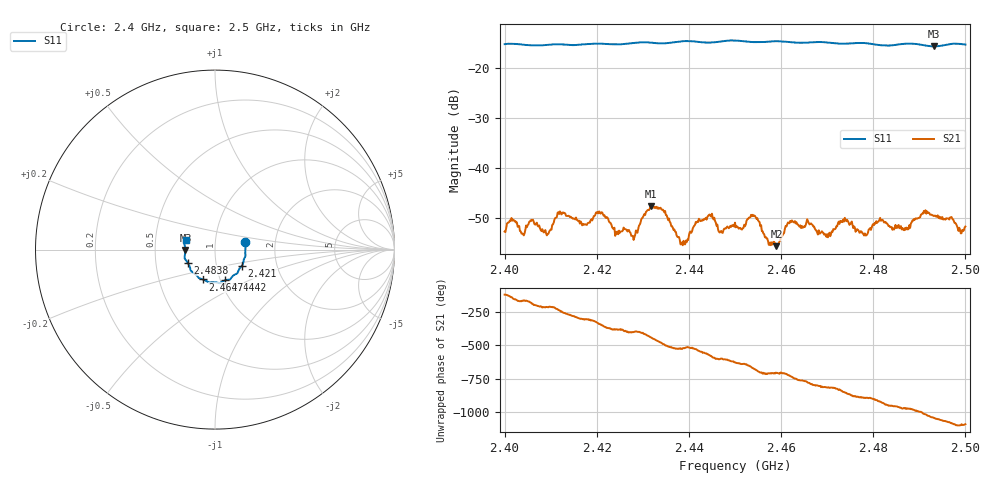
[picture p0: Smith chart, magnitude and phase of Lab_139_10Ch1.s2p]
# Hz S RI R 50
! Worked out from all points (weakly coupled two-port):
!   601 points, 2.4 GHz to 2.5 GHz, reference 50 ohm
!   highest |S21| = -47.75 dB at 2.4317 GHz (marker M1); lowest = -55.7 dB at 2.459 GHz (marker M2)
!   lowest |S11| = -15.7 dB at 2.4932 GHz (marker M3), VSWR 1.39, Z = 35.8 - j0.109 ohm
!   |S11| at or under -10 dB: start of sweep to end of sweep
!   S12 and S22 are empty: the file has one direction only
!   S11 on the Smith chart (normalised r, x): 2.4 GHz: 1.40, +0.12; 2.421 GHz: 1.33, -0.24; 2.4442 GHz: 1.05, -0.37; 2.4647 GHz: 0.83, -0.29; 2.4838 GHz: 0.73, -0.11; 2.5 GHz: 0.71, +0.08
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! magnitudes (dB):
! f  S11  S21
! 2.4 GHz  -15.2  -52.8
! 2.4058 GHz  -15.4  -50.6
! 2.4095 GHz  -15.3  -53.2
! 2.412 GHz  -15.2  -48.7
! 2.4167 GHz  -15.3  -51.1
! 2.421 GHz  -15.1  -48.9
! 2.4278 GHz  -15.0  -53.6
! 2.4317 GHz  -14.9  -47.8
! 2.4333 GHz  -15.0  -48.0
! 2.4387 GHz  -14.6  -55.5
! 2.4442 GHz  -14.9  -49.7
! 2.4468 GHz  -14.7  -52.8
! 2.45 GHz  -14.5  -51.0
! 2.454 GHz  -14.8  -49.7
! 2.459 GHz  -14.6  -55.7
! 2.4618 GHz  -14.8  -51.1
! 2.4647 GHz  -14.9  -52.0
! 2.4667 GHz  -14.8  -51.3
! 2.4833 GHz  -15.5  -51.7
! 2.4838 GHz  -15.5  -51.9
! 2.4932 GHz  -15.7  -49.7
! 2.5 GHz  -15.3  -51.8
